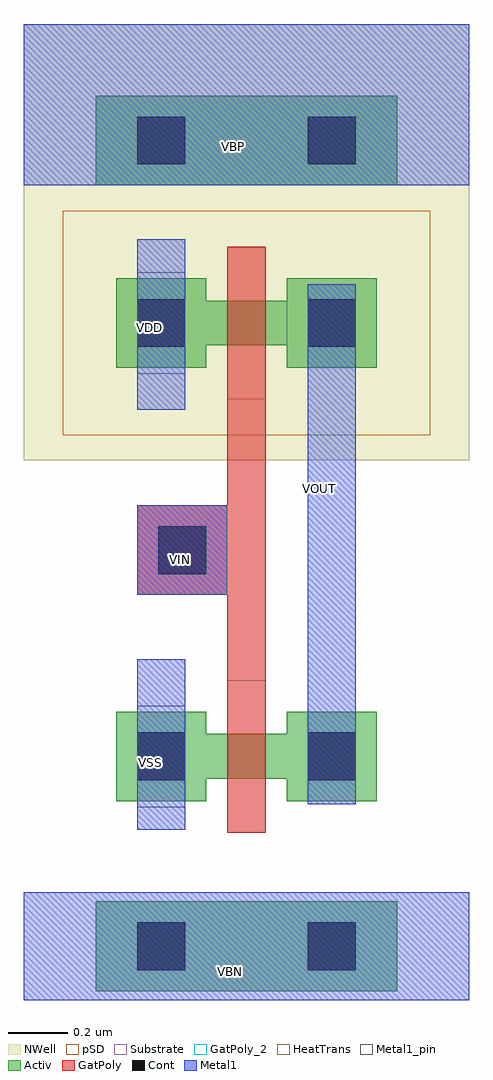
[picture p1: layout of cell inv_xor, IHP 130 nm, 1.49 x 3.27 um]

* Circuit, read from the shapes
.subckt inv_xor VBN VBP VDD VIN VOUT VSS
XM1 VOUT VIN VSS VBN sg13_lv_nmos w=0.15u l=0.13u
XM2 VOUT VIN VDD VBP sg13_lv_pmos w=0.15u l=0.13u
.ends

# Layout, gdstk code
import gdstk
lib = gdstk.Library(unit=1e-6, precision=5e-09)
def R(c, l, rs):  # rectangles x0, y0, x1, y1
    for r in rs: c.add(gdstk.rectangle(r[:2], r[2:], *l))
Activ = (1, 0)
GatPoly = (5, 0)
GatPoly_2 = (5, 2)
Cont = (6, 0)
Metal1 = (8, 0)
Metal1_pin = (8, 2)
pSD = (14, 0)
NWell = (31, 0)
Substrate = (40, 0)
HeatTrans = (51, 0)

pmos_3 = lib.new_cell('pmos$3')
R(pmos_3, Activ, [(0,0,0.3,0.3), (0.57,0,0.87,0.3), (0,0.075,0.87,0.225)])
R(pmos_3, GatPoly, [(0.37,-0.105,0.5,0.405), (0.37,-0.105,0.5,0.405)])
R(pmos_3, Cont, [(0.07,0.07,0.23,0.23), (0.64,0.07,0.8,0.23)])
R(pmos_3, Metal1, [(0.07,0.02,0.23,0.28), (0.07,0.02,0.23,0.28), (0.64,0.02,0.8,0.28), (0.64,0.02,0.8,0.28)])
R(pmos_3, pSD, [(-0.18,-0.225,1.05,0.525)])
R(pmos_3, NWell, [(-0.31,-0.31,1.18,0.61)])
R(pmos_3, Substrate, [(0.57,0,0.87,0.3)])
R(pmos_3, HeatTrans, [(0.37,-0.105,0.5,0.405)])
pmos_3.add(gdstk.Label('pmos', (0.435,0.15), layer=63, texttype=0))
pmos_3.add(gdstk.Label('pmos', (0.435,0.15), layer=51, texttype=0))

nmos_3 = lib.new_cell('nmos$3')
R(nmos_3, Activ, [(0,0,0.3,0.3), (0.57,0,0.87,0.3), (0,0.075,0.87,0.225)])
R(nmos_3, GatPoly, [(0.37,-0.105,0.5,0.405)])
R(nmos_3, GatPoly_2, [(0.37,-0.105,0.5,0.405)])
R(nmos_3, Cont, [(0.07,0.07,0.23,0.23), (0.64,0.07,0.8,0.23)])
R(nmos_3, Metal1, [(0.07,0.02,0.23,0.28), (0.64,0.02,0.8,0.28)])
R(nmos_3, Metal1_pin, [(0.07,0.02,0.23,0.28), (0.64,0.02,0.8,0.28)])
R(nmos_3, HeatTrans, [(0.37,-0.105,0.5,0.405)])
nmos_3.add(gdstk.Label('nmos', (0.435,0.15), layer=63, texttype=0))
nmos_3.add(gdstk.Label('nmos', (0.435,0.15), layer=51, texttype=0))

pmos_4 = lib.new_cell('pmos$4')
R(pmos_4, Activ, [(0,0,0.3,0.3), (0.57,0,0.87,0.3), (0,0.075,0.87,0.225)])
R(pmos_4, GatPoly, [(0.37,-0.105,0.5,0.405), (0.37,-0.105,0.5,0.405)])
R(pmos_4, Cont, [(0.07,0.07,0.23,0.23), (0.64,0.07,0.8,0.23)])
R(pmos_4, Metal1, [(0.07,0.02,0.23,0.28), (0.07,0.02,0.23,0.28), (0.64,0.02,0.8,0.28), (0.64,0.02,0.8,0.28)])
R(pmos_4, pSD, [(-0.18,-0.225,1.05,0.525)])
R(pmos_4, NWell, [(-0.31,-0.31,1.18,0.61)])
R(pmos_4, Substrate, [(0.57,0,0.87,0.3)])
R(pmos_4, HeatTrans, [(0.37,-0.105,0.5,0.405)])
pmos_4.add(gdstk.Label('pmos', (0.435,0.15), layer=63, texttype=0))
pmos_4.add(gdstk.Label('pmos', (0.435,0.15), layer=51, texttype=0))

nmos_4 = lib.new_cell('nmos$4')
R(nmos_4, Activ, [(0,0,0.3,0.3), (0.57,0,0.87,0.3), (0,0.075,0.87,0.225)])
R(nmos_4, GatPoly, [(0.37,-0.105,0.5,0.405)])
R(nmos_4, GatPoly_2, [(0.37,-0.105,0.5,0.405)])
R(nmos_4, Cont, [(0.07,0.07,0.23,0.23), (0.64,0.07,0.8,0.23)])
R(nmos_4, Metal1, [(0.07,0.02,0.23,0.28), (0.64,0.02,0.8,0.28)])
R(nmos_4, Metal1_pin, [(0.07,0.02,0.23,0.28), (0.64,0.02,0.8,0.28)])
R(nmos_4, HeatTrans, [(0.37,-0.105,0.5,0.405)])
nmos_4.add(gdstk.Label('nmos', (0.435,0.15), layer=63, texttype=0))
nmos_4.add(gdstk.Label('nmos', (0.435,0.15), layer=51, texttype=0))

pmos_3_1 = lib.new_cell('pmos$3$1')
R(pmos_3_1, Activ, [(0,0,0.3,0.3), (0.57,0,0.87,0.3), (0,0.075,0.87,0.225)])
R(pmos_3_1, GatPoly, [(0.37,-0.105,0.5,0.405), (0.37,-0.105,0.5,0.405)])
R(pmos_3_1, Cont, [(0.07,0.07,0.23,0.23), (0.64,0.07,0.8,0.23)])
R(pmos_3_1, Metal1, [(0.07,0.02,0.23,0.28), (0.07,0.02,0.23,0.28), (0.64,0.02,0.8,0.28), (0.64,0.02,0.8,0.28)])
R(pmos_3_1, pSD, [(-0.18,-0.225,1.05,0.525)])
R(pmos_3_1, NWell, [(-0.31,-0.31,1.18,0.61)])
R(pmos_3_1, Substrate, [(0.57,0,0.87,0.3)])
R(pmos_3_1, HeatTrans, [(0.37,-0.105,0.5,0.405)])
pmos_3_1.add(gdstk.Label('pmos', (0.435,0.15), layer=63, texttype=0))
pmos_3_1.add(gdstk.Label('pmos', (0.435,0.15), layer=51, texttype=0))

nmos_3_1 = lib.new_cell('nmos$3$1')
R(nmos_3_1, Activ, [(0,0,0.3,0.3), (0.57,0,0.87,0.3), (0,0.075,0.87,0.225)])
R(nmos_3_1, GatPoly, [(0.37,-0.105,0.5,0.405)])
R(nmos_3_1, GatPoly_2, [(0.37,-0.105,0.5,0.405)])
R(nmos_3_1, Cont, [(0.07,0.07,0.23,0.23), (0.64,0.07,0.8,0.23)])
R(nmos_3_1, Metal1, [(0.07,0.02,0.23,0.28), (0.64,0.02,0.8,0.28)])
R(nmos_3_1, Metal1_pin, [(0.07,0.02,0.23,0.28), (0.64,0.02,0.8,0.28)])
R(nmos_3_1, HeatTrans, [(0.37,-0.105,0.5,0.405)])
nmos_3_1.add(gdstk.Label('nmos', (0.435,0.15), layer=63, texttype=0))
nmos_3_1.add(gdstk.Label('nmos', (0.435,0.15), layer=51, texttype=0))

pmos_4_1 = lib.new_cell('pmos$4$1')
R(pmos_4_1, Activ, [(0,0,0.3,0.3), (0.57,0,0.87,0.3), (0,0.075,0.87,0.225)])
R(pmos_4_1, GatPoly, [(0.37,-0.105,0.5,0.405), (0.37,-0.105,0.5,0.405)])
R(pmos_4_1, Cont, [(0.07,0.07,0.23,0.23), (0.64,0.07,0.8,0.23)])
R(pmos_4_1, Metal1, [(0.07,0.02,0.23,0.28), (0.07,0.02,0.23,0.28), (0.64,0.02,0.8,0.28), (0.64,0.02,0.8,0.28)])
R(pmos_4_1, pSD, [(-0.18,-0.225,1.05,0.525)])
R(pmos_4_1, NWell, [(-0.31,-0.31,1.18,0.61)])
R(pmos_4_1, Substrate, [(0.57,0,0.87,0.3)])
R(pmos_4_1, HeatTrans, [(0.37,-0.105,0.5,0.405)])
pmos_4_1.add(gdstk.Label('pmos', (0.435,0.15), layer=63, texttype=0))
pmos_4_1.add(gdstk.Label('pmos', (0.435,0.15), layer=51, texttype=0))

nmos_4_1 = lib.new_cell('nmos$4$1')
R(nmos_4_1, Activ, [(0,0,0.3,0.3), (0.57,0,0.87,0.3), (0,0.075,0.87,0.225)])
R(nmos_4_1, GatPoly, [(0.37,-0.105,0.5,0.405)])
R(nmos_4_1, GatPoly_2, [(0.37,-0.105,0.5,0.405)])
R(nmos_4_1, Cont, [(0.07,0.07,0.23,0.23), (0.64,0.07,0.8,0.23)])
R(nmos_4_1, Metal1, [(0.07,0.02,0.23,0.28), (0.64,0.02,0.8,0.28)])
R(nmos_4_1, Metal1_pin, [(0.07,0.02,0.23,0.28), (0.64,0.02,0.8,0.28)])
R(nmos_4_1, HeatTrans, [(0.37,-0.105,0.5,0.405)])
nmos_4_1.add(gdstk.Label('nmos', (0.435,0.15), layer=63, texttype=0))
nmos_4_1.add(gdstk.Label('nmos', (0.435,0.15), layer=51, texttype=0))

inv_xor = lib.new_cell('inv_xor')
R(inv_xor, Activ, [(1.29,-0.04,2.3,0.26), (1.29,-0.04,2.3,0.26), (1.29,-0.04,2.3,0.26), (1.29,-0.04,2.3,0.26), (1.29,2.655,2.3,2.955), (1.29,2.655,2.3,2.955), (1.29,2.655,2.3,2.955), (1.29,2.655,2.3,2.955)])
R(inv_xor, GatPoly, [(1.73,0.49,1.86,2.45), (1.73,0.49,1.86,2.45), (1.73,0.49,1.86,2.45), (1.73,0.49,1.86,2.45), (1.43,1.285,1.73,1.585), (1.43,1.285,1.73,1.585), (1.43,1.285,1.73,1.585), (1.43,1.285,1.73,1.585)])
R(inv_xor, Cont, [(1.43,0.03,1.59,0.19), (1.43,0.03,1.59,0.19), (1.43,0.03,1.59,0.19), (1.43,0.03,1.59,0.19), (2,0.03,2.16,0.19), (2,0.03,2.16,0.19), (2,0.03,2.16,0.19), (2,0.03,2.16,0.19), (1.5,1.355,1.66,1.515), (1.5,1.355,1.66,1.515), (1.5,1.355,1.66,1.515), (1.5,1.355,1.66,1.515), (1.43,2.725,1.59,2.885), (1.43,2.725,1.59,2.885), (1.43,2.725,1.59,2.885), (1.43,2.725,1.59,2.885), (2,2.725,2.16,2.885), (2,2.725,2.16,2.885), (2,2.725,2.16,2.885), (2,2.725,2.16,2.885)])
R(inv_xor, Metal1, [(1.05,-0.07,2.54,0.29), (1.05,-0.07,2.54,0.29), (1.05,-0.07,2.54,0.29), (1.05,-0.07,2.54,0.29), (1.43,0.5,1.59,1.07), (1.43,0.5,1.59,1.07), (1.43,0.5,1.59,1.07), (1.43,0.5,1.59,1.07), (2,0.585,2.16,2.325), (2,0.585,2.16,2.325), (2,0.615,2.16,2.325), (2,0.615,2.16,2.325), (1.43,1.285,1.73,1.585), (1.43,1.285,1.73,1.585), (1.43,1.285,1.73,1.585), (1.43,1.285,1.73,1.585), (1.43,1.905,1.59,2.475), (1.43,1.905,1.59,2.475), (1.43,1.905,1.59,2.475), (1.43,1.905,1.59,2.475), (1.05,2.655,2.54,3.195), (1.05,2.655,2.54,3.195), (1.05,2.655,2.54,3.195), (1.05,2.655,2.54,3.195)])
R(inv_xor, Metal1_pin, [(1.05,-0.07,2.54,0.29), (1.05,-0.07,2.54,0.29), (1.05,-0.07,2.54,0.29), (1.05,-0.07,2.54,0.29), (1.43,0.575,1.59,0.915), (1.43,0.575,1.59,0.915), (1.43,0.575,1.59,0.915), (1.43,0.575,1.59,0.915), (2,0.585,2.16,2.325), (2,0.585,2.16,2.325), (2,0.585,2.16,2.325), (2,0.585,2.16,2.325), (1.43,1.285,1.73,1.585), (1.43,1.285,1.73,1.585), (1.43,1.285,1.73,1.585), (1.43,1.285,1.73,1.585), (1.43,2.025,1.59,2.365), (1.43,2.025,1.59,2.365), (1.43,2.025,1.59,2.365), (1.43,2.025,1.59,2.365), (1.05,2.655,2.54,3.195), (1.05,2.655,2.54,3.195), (1.05,2.655,2.54,3.195), (1.05,2.655,2.54,3.195)])
R(inv_xor, pSD, [(1.05,-0.07,2.54,0.29), (1.05,-0.07,2.54,0.29), (1.05,-0.07,2.54,0.29), (1.05,-0.07,2.54,0.29)])
R(inv_xor, NWell, [(1.05,2.655,2.54,3.195), (1.05,2.655,2.54,3.195), (1.05,2.655,2.54,3.195), (1.05,2.655,2.54,3.195)])
inv_xor.add(gdstk.Reference(pmos_3, (1.36,2.045)))
inv_xor.add(gdstk.Reference(nmos_3, (1.36,0.595)))
inv_xor.add(gdstk.Reference(pmos_4, (1.36,2.045)))
inv_xor.add(gdstk.Reference(nmos_4, (1.36,0.595)))
inv_xor.add(gdstk.Reference(pmos_3_1, (1.36,2.045)))
inv_xor.add(gdstk.Reference(nmos_3_1, (1.36,0.595)))
inv_xor.add(gdstk.Reference(pmos_4_1, (1.36,2.045)))
inv_xor.add(gdstk.Reference(nmos_4_1, (1.36,0.595)))
inv_xor.add(gdstk.Label('VBN', (1.74,0.025), layer=8, texttype=25))
inv_xor.add(gdstk.Label('VSS', (1.475,0.725), layer=8, texttype=25))
inv_xor.add(gdstk.Label('VBN', (1.74,0.025), layer=8, texttype=25))
inv_xor.add(gdstk.Label('VSS', (1.475,0.725), layer=8, texttype=25))
inv_xor.add(gdstk.Label('VIN', (1.575,1.405), layer=8, texttype=25))
inv_xor.add(gdstk.Label('VOUT', (2.04,1.64), layer=8, texttype=25))
inv_xor.add(gdstk.Label('VDD', (1.47,2.18), layer=8, texttype=25))
inv_xor.add(gdstk.Label('VBP', (1.75,2.785), layer=8, texttype=25))
inv_xor.add(gdstk.Label('VIN', (1.575,1.405), layer=8, texttype=25))
inv_xor.add(gdstk.Label('VOUT', (2.04,1.64), layer=8, texttype=25))
inv_xor.add(gdstk.Label('VDD', (1.47,2.18), layer=8, texttype=25))
inv_xor.add(gdstk.Label('VBP', (1.75,2.785), layer=8, texttype=25))
inv_xor.add(gdstk.Label('VBN', (1.74,0.025), layer=8, texttype=25))
inv_xor.add(gdstk.Label('VSS', (1.475,0.725), layer=8, texttype=25))
inv_xor.add(gdstk.Label('VBN', (1.74,0.025), layer=8, texttype=25))
inv_xor.add(gdstk.Label('VSS', (1.475,0.725), layer=8, texttype=25))
inv_xor.add(gdstk.Label('VIN', (1.575,1.405), layer=8, texttype=25))
inv_xor.add(gdstk.Label('VOUT', (2.04,1.64), layer=8, texttype=25))
inv_xor.add(gdstk.Label('VDD', (1.47,2.18), layer=8, texttype=25))
inv_xor.add(gdstk.Label('VBP', (1.75,2.785), layer=8, texttype=25))
inv_xor.add(gdstk.Label('VIN', (1.575,1.405), layer=8, texttype=25))
inv_xor.add(gdstk.Label('VOUT', (2.04,1.64), layer=8, texttype=25))
inv_xor.add(gdstk.Label('VDD', (1.47,2.18), layer=8, texttype=25))
inv_xor.add(gdstk.Label('VBP', (1.75,2.785), layer=8, texttype=25))

lib.write_gds('inv_xor.gds')
